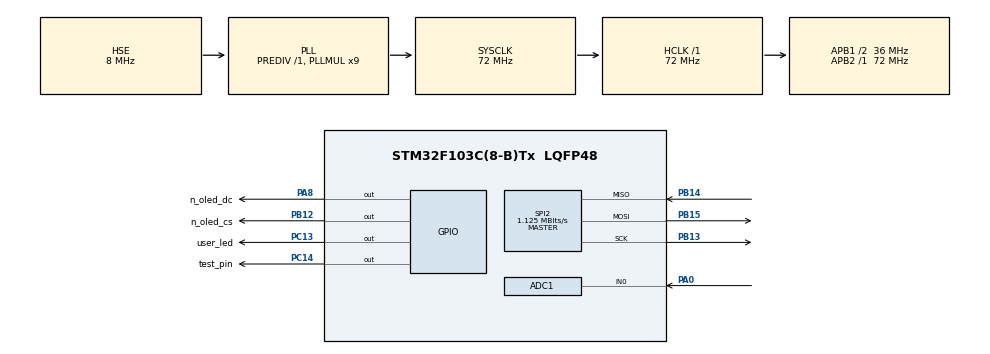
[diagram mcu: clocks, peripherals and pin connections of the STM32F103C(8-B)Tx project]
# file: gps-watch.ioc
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ADC1.Channel-4\#ChannelRegularConversion=ADC_CHANNEL_0
ADC1.NbrOfConversionFlag=1
ADC1.Rank-4\#ChannelRegularConversion=1
ADC1.SamplingTime-4\#ChannelRegularConversion=ADC_SAMPLETIME_1CYCLE_5
ADC1.master=1
Mcu.Family=STM32F1
Mcu.Name=STM32F103C(8-B)Tx
Mcu.Package=LQFP48
NVIC.PriorityGroup=NVIC_PRIORITYGROUP_4
PA0-WKUP.Signal=ADCx_IN0
PA8.GPIO_Label=n_oled_dc
PA8.Signal=GPIO_Output
PB12.GPIO_Label=n_oled_cs
PB12.Signal=GPIO_Output
PB13.Mode=Full_Duplex_Master
PB13.Signal=SPI2_SCK
PB14.Mode=Full_Duplex_Master
PB14.Signal=SPI2_MISO
PB15.Mode=Full_Duplex_Master
PB15.Signal=SPI2_MOSI
PC13-TAMPER-RTC.GPIO_Label=user_led
PC13-TAMPER-RTC.Signal=GPIO_Output
PC14-OSC32_IN.GPIO_Label=test_pin
PC14-OSC32_IN.Signal=GPIO_Output
PD0-OSC_IN.Mode=HSE-External-Oscillator
PD0-OSC_IN.Signal=RCC_OSC_IN
PD1-OSC_OUT.Mode=HSE-External-Oscillator
PD1-OSC_OUT.Signal=RCC_OSC_OUT
ProjectManager.HeapSize=0x200
ProjectManager.StackSize=0x400
ProjectManager.TargetToolchain=STM32CubeIDE
RCC.ADCPresc=RCC_ADCPCLK2_DIV6
RCC.AHBFreq_Value=72000000
RCC.APB1CLKDivider=RCC_HCLK_DIV2
RCC.APB1Freq_Value=36000000
RCC.APB1TimFreq_Value=72000000
RCC.APB2Freq_Value=72000000
RCC.APB2TimFreq_Value=72000000
RCC.HCLKFreq_Value=72000000
RCC.PLLMUL=RCC_PLL_MUL9
RCC.PLLSourceVirtual=RCC_PLLSOURCE_HSE
RCC.SYSCLKFreq_VALUE=72000000
RCC.SYSCLKSource=RCC_SYSCLKSOURCE_PLLCLK
RCC.USBFreq_Value=72000000
SH.ADCx_IN0.0=ADC1_IN0,IN0
SPI2.BaudRatePrescaler=SPI_BAUDRATEPRESCALER_32
SPI2.CLKPolarity=SPI_POLARITY_LOW
SPI2.CalculateBaudRate=1.125 MBits/s
SPI2.Direction=SPI_DIRECTION_2LINES
SPI2.Mode=SPI_MODE_MASTER
SPI2.VirtualType=VM_MASTER
board=custom

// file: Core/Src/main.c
/* USER CODE BEGIN Header */
/**
  ******************************************************************************
  * @file           : main.c
  * @brief          : Main program body
  ******************************************************************************
  * @attention
  *
  * Copyright (c) 2022 STMicroelectronics.
  * All rights reserved.
  *
  * This software is licensed under terms that can be found in the LICENSE file
  * in the root directory of this software component.
  * If no LICENSE file comes with this software, it is provided AS-IS.
  *
  ******************************************************************************
  */
/* USER CODE END Header */
#include "main.h"

/* USER CODE BEGIN Includes */
#include "CFAL12856A0.h"
#include "images.h"
#include "technobabble.h"
/* USER CODE END Includes */

ADC_HandleTypeDef hadc1;

SPI_HandleTypeDef hspi2;

void SystemClock_Config(void);
static void MX_GPIO_Init(void);
static void MX_ADC1_Init(void);
static void MX_SPI2_Init(void);

int main(void)
{

  /* MCU Configuration--------------------------------------------------------*/

  /* Reset of all peripherals, Initializes the Flash interface and the Systick. */
  HAL_Init();

  /* Configure the system clock */
  SystemClock_Config();

  /* Initialize all configured peripherals */
  MX_GPIO_Init();
  MX_ADC1_Init();
  MX_SPI2_Init();
  /* USER CODE BEGIN 2 */

  /// Set the initial state of the CS pin high
  HAL_GPIO_WritePin(n_oled_cs_GPIO_Port, n_oled_cs_Pin, GPIO_PIN_SET);

  HAL_Delay(100);

  /// Initialize oled to default factory parameters
  oled_init(&hspi2);

  HAL_Delay(100);

  /// Load image into buffer to send to oled
  oled_load_buffer(bad_apple);

  /// Send buffer to oled
  oled_send_buffer(&hspi2);

  char* technobabble = (char*)calloc(TECHNOLENGTH, 1);
  uint8_t i = 0;

  /* USER CODE END 2 */

  /* Infinite loop */
  /* USER CODE BEGIN WHILE */
  while (1)
  {

    genTechnobabble(technobabble, 1);
    oled_send_string(&hspi2, technobabble, sizeof(technobabble), (i++) % 7, 0);
    HAL_Delay(200);
    oled_blank_screen(&hspi2);

    /* USER CODE END WHILE */

  }
}

void SystemClock_Config(void)
{
  RCC_OscInitTypeDef RCC_OscInitStruct = {0};
  RCC_ClkInitTypeDef RCC_ClkInitStruct = {0};
  RCC_PeriphCLKInitTypeDef PeriphClkInit = {0};

  /** Initializes the RCC Oscillators according to the specified parameters
  * in the RCC_OscInitTypeDef structure.
  */
  RCC_OscInitStruct.OscillatorType = RCC_OSCILLATORTYPE_HSE;
  RCC_OscInitStruct.HSEState = RCC_HSE_ON;
  RCC_OscInitStruct.HSEPredivValue = RCC_HSE_PREDIV_DIV1;
  RCC_OscInitStruct.HSIState = RCC_HSI_ON;
  RCC_OscInitStruct.PLL.PLLState = RCC_PLL_ON;
  RCC_OscInitStruct.PLL.PLLSource = RCC_PLLSOURCE_HSE;
  RCC_OscInitStruct.PLL.PLLMUL = RCC_PLL_MUL9;
  if (HAL_RCC_OscConfig(&RCC_OscInitStruct) != HAL_OK)
  {
    Error_Handler();
  }

  /** Initializes the CPU, AHB and APB buses clocks
  */
  RCC_ClkInitStruct.ClockType = RCC_CLOCKTYPE_HCLK|RCC_CLOCKTYPE_SYSCLK
                              |RCC_CLOCKTYPE_PCLK1|RCC_CLOCKTYPE_PCLK2;
  RCC_ClkInitStruct.SYSCLKSource = RCC_SYSCLKSOURCE_PLLCLK;
  RCC_ClkInitStruct.AHBCLKDivider = RCC_SYSCLK_DIV1;
  RCC_ClkInitStruct.APB1CLKDivider = RCC_HCLK_DIV2;
  RCC_ClkInitStruct.APB2CLKDivider = RCC_HCLK_DIV1;

  if (HAL_RCC_ClockConfig(&RCC_ClkInitStruct, FLASH_LATENCY_2) != HAL_OK)
  {
    Error_Handler();
  }
  PeriphClkInit.PeriphClockSelection = RCC_PERIPHCLK_ADC;
  PeriphClkInit.AdcClockSelection = RCC_ADCPCLK2_DIV6;
  if (HAL_RCCEx_PeriphCLKConfig(&PeriphClkInit) != HAL_OK)
  {
    Error_Handler();
  }
}

static void MX_ADC1_Init(void)
{

  ADC_ChannelConfTypeDef sConfig = {0};

  /** Common config
  */
  hadc1.Instance = ADC1;
  hadc1.Init.ScanConvMode = ADC_SCAN_DISABLE;
  hadc1.Init.ContinuousConvMode = DISABLE;
  hadc1.Init.DiscontinuousConvMode = DISABLE;
  hadc1.Init.ExternalTrigConv = ADC_SOFTWARE_START;
  hadc1.Init.DataAlign = ADC_DATAALIGN_RIGHT;
  hadc1.Init.NbrOfConversion = 1;
  if (HAL_ADC_Init(&hadc1) != HAL_OK)
  {
    Error_Handler();
  }

  /** Configure Regular Channel
  */
  sConfig.Channel = ADC_CHANNEL_0;
  sConfig.Rank = ADC_REGULAR_RANK_1;
  sConfig.SamplingTime = ADC_SAMPLETIME_1CYCLE_5;
  if (HAL_ADC_ConfigChannel(&hadc1, &sConfig) != HAL_OK)
  {
    Error_Handler();
  }

}

static void MX_SPI2_Init(void)
{

  /* SPI2 parameter configuration*/
  hspi2.Instance = SPI2;
  hspi2.Init.Mode = SPI_MODE_MASTER;
  hspi2.Init.Direction = SPI_DIRECTION_2LINES;
  hspi2.Init.DataSize = SPI_DATASIZE_8BIT;
  hspi2.Init.CLKPolarity = SPI_POLARITY_LOW;
  hspi2.Init.CLKPhase = SPI_PHASE_1EDGE;
  hspi2.Init.NSS = SPI_NSS_SOFT;
  hspi2.Init.BaudRatePrescaler = SPI_BAUDRATEPRESCALER_32;
  hspi2.Init.FirstBit = SPI_FIRSTBIT_MSB;
  hspi2.Init.TIMode = SPI_TIMODE_DISABLE;
  hspi2.Init.CRCCalculation = SPI_CRCCALCULATION_DISABLE;
  hspi2.Init.CRCPolynomial = 10;
  if (HAL_SPI_Init(&hspi2) != HAL_OK)
  {
    Error_Handler();
  }

}

static void MX_GPIO_Init(void)
{
  GPIO_InitTypeDef GPIO_InitStruct = {0};

  /* GPIO Ports Clock Enable */
  __HAL_RCC_GPIOC_CLK_ENABLE();
  __HAL_RCC_GPIOD_CLK_ENABLE();
  __HAL_RCC_GPIOA_CLK_ENABLE();
  __HAL_RCC_GPIOB_CLK_ENABLE();

  /*Configure GPIO pin Output Level */
  HAL_GPIO_WritePin(GPIOC, user_led_Pin|test_pin_Pin, GPIO_PIN_RESET);

  /*Configure GPIO pin Output Level */
  HAL_GPIO_WritePin(n_oled_cs_GPIO_Port, n_oled_cs_Pin, GPIO_PIN_RESET);

  /*Configure GPIO pin Output Level */
  HAL_GPIO_WritePin(n_oled_dc_GPIO_Port, n_oled_dc_Pin, GPIO_PIN_RESET);

  /*Configure GPIO pins : user_led_Pin test_pin_Pin */
  GPIO_InitStruct.Pin = user_led_Pin|test_pin_Pin;
  GPIO_InitStruct.Mode = GPIO_MODE_OUTPUT_PP;
  GPIO_InitStruct.Pull = GPIO_NOPULL;
  GPIO_InitStruct.Speed = GPIO_SPEED_FREQ_LOW;
  HAL_GPIO_Init(GPIOC, &GPIO_InitStruct);

  /*Configure GPIO pin : n_oled_cs_Pin */
  GPIO_InitStruct.Pin = n_oled_cs_Pin;
  GPIO_InitStruct.Mode = GPIO_MODE_OUTPUT_PP;
  GPIO_InitStruct.Pull = GPIO_NOPULL;
  GPIO_InitStruct.Speed = GPIO_SPEED_FREQ_LOW;
  HAL_GPIO_Init(n_oled_cs_GPIO_Port, &GPIO_InitStruct);

  /*Configure GPIO pin : n_oled_dc_Pin */
  GPIO_InitStruct.Pin = n_oled_dc_Pin;
  GPIO_InitStruct.Mode = GPIO_MODE_OUTPUT_PP;
  GPIO_InitStruct.Pull = GPIO_NOPULL;
  GPIO_InitStruct.Speed = GPIO_SPEED_FREQ_LOW;
  HAL_GPIO_Init(n_oled_dc_GPIO_Port, &GPIO_InitStruct);

}

void Error_Handler(void)
{
  __disable_irq();
  while (1)
  {
  }
}
